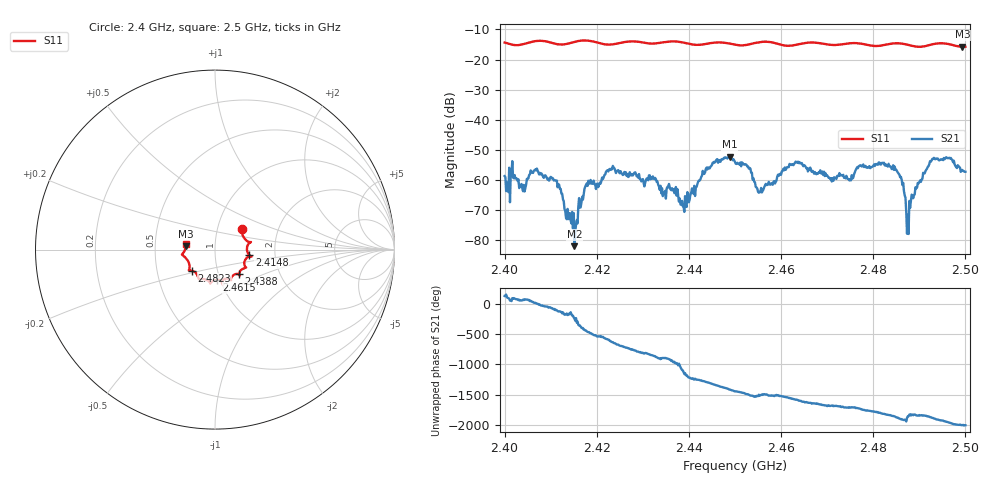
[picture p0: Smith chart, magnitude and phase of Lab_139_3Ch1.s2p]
# Hz S RI R 50
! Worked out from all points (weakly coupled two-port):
!   601 points, 2.4 GHz to 2.5 GHz, reference 50 ohm
!   highest |S21| = -52.24 dB at 2.4488 GHz (marker M1); lowest = -81.9 dB at 2.4152 GHz (marker M2)
!   lowest |S11| = -15.8 dB at 2.4993 GHz (marker M3), VSWR 1.39, Z = 36.1 + j1.31 ohm
!   |S11| at or under -10 dB: start of sweep to end of sweep
!   S12 and S22 are empty: the file has one direction only
!   S11 on the Smith chart (normalised r, x): 2.4 GHz: 1.31, +0.32; 2.4148 GHz: 1.47, -0.10; 2.4388 GHz: 1.25, -0.36; 2.4615 GHz: 0.97, -0.34; 2.4823 GHz: 0.75, -0.18; 2.5 GHz: 0.72, +0.04
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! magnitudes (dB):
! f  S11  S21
! 2.4 GHz  -14.3  -58.7
! 2.4108 GHz  -14.7  -60.0
! 2.4148 GHz  -14.3  -76.1
! 2.4152 GHz  -14.1  -81.9
! 2.4167 GHz  -13.7  -67.5
! 2.4232 GHz  -15.0  -56.2
! 2.4333 GHz  -14.5  -61.6
! 2.4388 GHz  -14.4  -68.6
! 2.4435 GHz  -14.9  -57.4
! 2.4488 GHz  -14.7  -52.2
! 2.45 GHz  -15.0  -53.9
! 2.4555 GHz  -14.2  -64.0
! 2.4615 GHz  -15.4  -55.7
! 2.4667 GHz  -14.3  -57.2
! 2.475 GHz  -14.6  -59.7
! 2.4823 GHz  -15.2  -54.2
! 2.4833 GHz  -14.9  -54.6
! 2.486 GHz  -14.7  -58.9
! 2.4877 GHz  -15.2  -77.9
! 2.4928 GHz  -14.9  -52.9
! 2.4993 GHz  -15.8  -56.6
! 2.5 GHz  -15.7  -57.2
